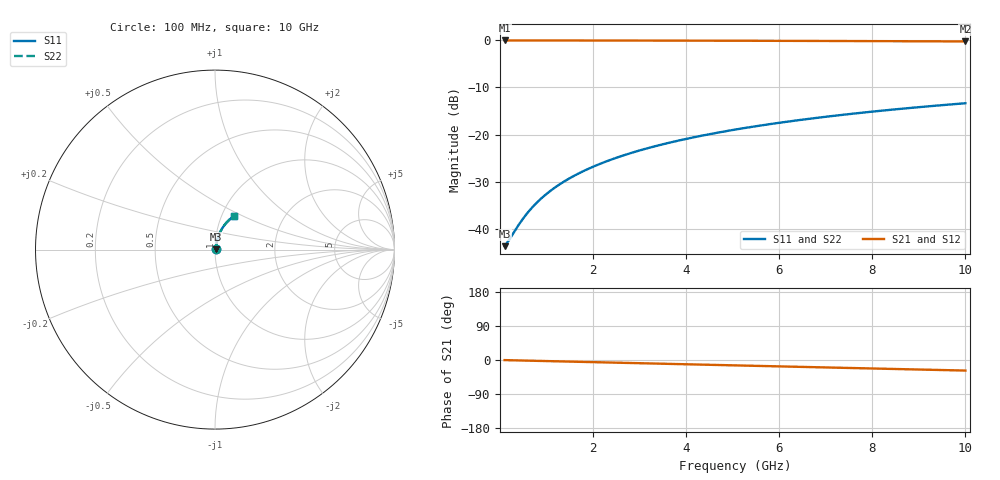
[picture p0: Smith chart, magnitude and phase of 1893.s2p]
# Hz S RI R 50.00
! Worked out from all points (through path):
!   100 points, 100 MHz to 10 GHz, reference 50 ohm
!   highest |S21| = -0.05 dB at 100 MHz (marker M1); lowest = -0.3 dB at 10 GHz (marker M2)
!   group delay of S21, straight-line fit = 7.75 ps
!   lowest |S11| = -43.7 dB at 100 MHz (marker M3), VSWR 1.01, Z = 50.6 + j0.226 ohm
!   |S11| at or under -10 dB: start of sweep to end of sweep
!   |S22| runs from -43.7 to -13.4 dB; largest |S21 - S12| = 0
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1e8  0.00616 0.00223  0.9938 -0.00489  0.9938 -0.00489  0.00616 0.00223
2e8  0.00623 0.00446  0.9937 -0.00978  0.9937 -0.00978  0.00623 0.00446
4e8  0.00642 0.00891  0.9935 -0.0196  0.9935 -0.0196  0.00642 0.00891
5e8  0.00654 0.0111  0.9934 -0.0244  0.9934 -0.0244  0.00654 0.0111
6e8  0.00667 0.0134  0.9932 -0.0293  0.9932 -0.0293  0.00667 0.0134
7e8  0.00683 0.0156  0.993 -0.0342  0.993 -0.0342  0.00683 0.0156
8e8  0.00701 0.0178  0.9927 -0.0391  0.9927 -0.0391  0.00701 0.0178
1e9  0.00743 0.0222  0.9922 -0.0488  0.9922 -0.0488  0.00743 0.0222
1.2e9  0.00794 0.0267  0.9915 -0.0586  0.9915 -0.0586  0.00794 0.0267
1.5e9  0.00885 0.0333  0.9903 -0.0732  0.9903 -0.0732  0.00885 0.0333
1.8e9  0.00996 0.0399  0.9888 -0.0878  0.9888 -0.0878  0.00996 0.0399
2.1e9  0.0113 0.0464  0.9871 -0.1023  0.9871 -0.1023  0.0113 0.0464
2.5e9  0.0133 0.0551  0.9844 -0.1216  0.9844 -0.1216  0.0133 0.0551
2.9e9  0.0156 0.0636  0.9813 -0.1408  0.9813 -0.1408  0.0156 0.0636
3.4e9  0.0191 0.0742  0.9767 -0.1647  0.9767 -0.1647  0.0191 0.0742
4.2e9  0.0256 0.0907  0.968 -0.2025  0.968 -0.2025  0.0256 0.0907
5.1e9  0.0344 0.1085  0.9562 -0.2443  0.9562 -0.2443  0.0344 0.1085
5.9e9  0.0435 0.1236  0.9439 -0.2808  0.9439 -0.2808  0.0435 0.1236
6.7e9  0.0537 0.1378  0.93 -0.3164  0.93 -0.3164  0.0537 0.1378
7.5e9  0.065 0.1512  0.9146 -0.3512  0.9146 -0.3512  0.065 0.1512
8.4e9  0.0787 0.1652  0.8956 -0.3892  0.8956 -0.3892  0.0787 0.1652
1e10  0.1058 0.1866  0.8576 -0.4534  0.8576 -0.4534  0.1058 0.1866
